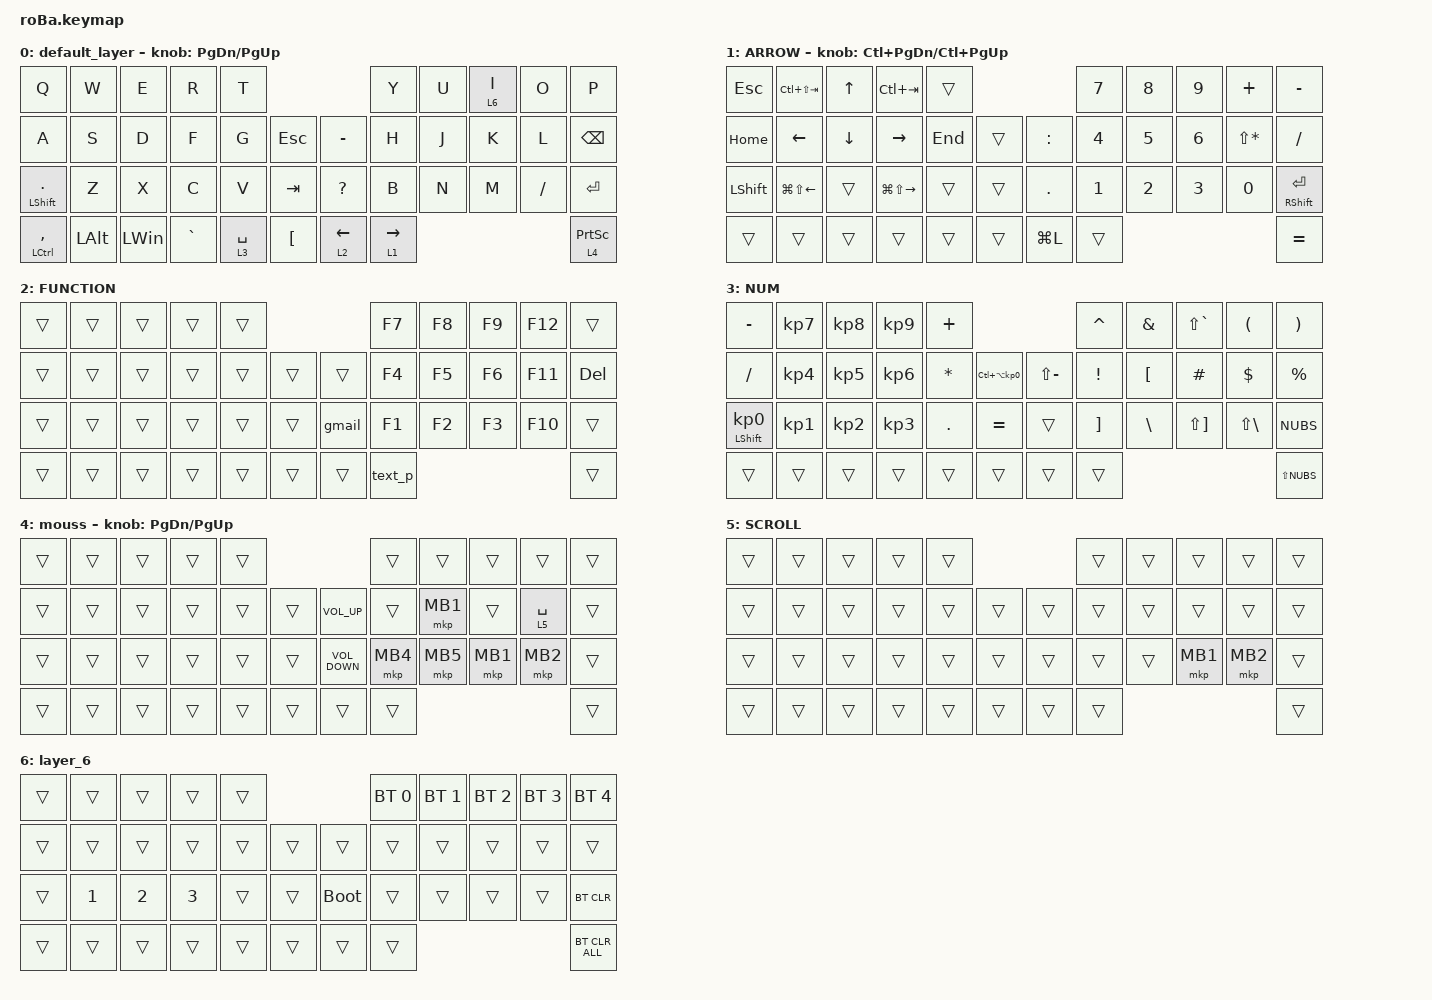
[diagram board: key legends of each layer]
#include <behaviors.dtsi>
#include <dt-bindings/zmk/bt.h>
#include <dt-bindings/zmk/keys.h>
#include <dt-bindings/zmk/pointing.h>

#define MOUSE 4
#define SCROLL 5
#define NUM 6

&mt {
    flavor = "balanced";
    quick-tap-ms = <0>;
};

/ {
    combos {
        compatible = "zmk,combos";

        tab {
            bindings = <&kp TAB>;
            key-positions = <11 12>;
        };

        shift_tab {
            bindings = <&kp LS(TAB)>;
            key-positions = <12 13>;
        };

        double_quotation {
            bindings = <&kp AT>;
            key-positions = <20 21>;
        };

        eq {
            bindings = <&kp EQUAL>;
            key-positions = <24 25>;
        };
    };

    macros {
        text_p: to_layer_0 {
            compatible = "zmk,behavior-macro";
            #binding-cells = <0>;
            bindings = <&kp N &kp Q &kp LS(A) &kp LS(J) &kp U &kp N6 &kp N8 &kp Q>;
            label = "TO_LAYER_0";
        };

        gmail: gmail {
            compatible = "zmk,behavior-macro";
            #binding-cells = <0>;
            bindings = <&none &kp LEFT_BRACKET &kp G &kp M &kp A &kp I &kp L &kp DOT &kp C &kp O &kp M>;
            label = "GMAIL";
        };
    };

    behaviors {
        lt_to_layer_0: lt_to_layer_0 {
            compatible = "zmk,behavior-hold-tap";
            label = "LAYER_TAP_TO_0";
            bindings = <&mo>, <&text_p>;

            #binding-cells = <2>;
            tapping-term-ms = <250>;
        };
    };

    keymap {
        compatible = "zmk,keymap";

        default_layer {
            bindings = <
&kp Q                  &kp W         &kp E         &kp R      &kp T                                          &kp Y        &kp U  &lt 6 I  &kp O      &kp P
&kp A                  &kp S         &kp D         &kp F      &kp G        &kp ESCAPE            &kp MINUS   &kp H        &kp J  &kp K    &kp L      &kp BACKSPACE
&mt LEFT_SHIFT PERIOD  &kp Z         &kp X         &kp C      &kp V        &kp TAB               &kp QMARK   &kp B        &kp N  &kp M    &kp SLASH  &kp ENTER
&mt LCTRL COMMA        &kp LEFT_ALT  &kp LEFT_WIN  &kp GRAVE  &lt 3 SPACE  &kp LEFT_BRACKET      &lt 2 LEFT  &lt 1 RIGHT                             &lt 4 PRINTSCREEN
            >;

            sensor-bindings = <&inc_dec_kp PAGE_DOWN PAGE_UP>;
        };

        ARROW {
            bindings = <
&kp ESCAPE      &kp LC(LS(TAB))         &kp UP_ARROW    &kp LC(TAB)              &trans                           &kp N7        &kp N8        &kp N9        &kp PLUS       &kp MINUS
&kp HOME        &kp LEFT_ARROW          &kp DOWN_ARROW  &kp RIGHT_ARROW          &kp END  &trans      &kp COLON   &kp NUMBER_4  &kp N5        &kp NUMBER_6  &kp LS(ASTRK)  &kp SLASH
&kp LEFT_SHIFT  &kp LG(LS(LEFT_ARROW))  &trans          &kp LG(LS(RIGHT_ARROW))  &trans   &trans      &kp PERIOD  &kp NUMBER_1  &kp NUMBER_2  &kp NUMBER_3  &kp N0         &mt RIGHT_SHIFT ENTER
&trans          &trans                  &trans          &trans                   &trans   &trans      &kp LG(L)   &trans                                                   &kp EQUAL
            >;

            sensor-bindings = <&inc_dec_kp LC(PAGE_DOWN) LC(PAGE_UP)>;
        };

        FUNCTION {
            bindings = <
&trans  &trans  &trans  &trans  &trans                      &kp F7   &kp F8  &kp F9  &kp F12  &trans
&trans  &trans  &trans  &trans  &trans  &trans      &trans  &kp F4   &kp F5  &kp F6  &kp F11  &kp DELETE
&trans  &trans  &trans  &trans  &trans  &trans      &gmail  &kp F1   &kp F2  &kp F3  &kp F10  &trans
&trans  &trans  &trans  &trans  &trans  &trans      &trans  &text_p                           &trans
            >;
        };

        NUM {
            bindings = <
&kp MINUS                   &kp KP_NUMBER_7  &kp KP_NUMBER_8  &kp KP_NUMBER_9  &kp PLUS                                                  &kp CARET          &kp AMPERSAND     &kp LS(GRAVE)          &kp LEFT_PARENTHESIS  &kp RIGHT_PARENTHESIS
&kp SLASH                   &kp KP_NUMBER_4  &kp KP_NUMBER_5  &kp KP_NUMBER_6  &kp ASTERISK  &kp LC(LA(KP_NUMBER_0))      &kp LS(MINUS)  &kp EXCLAMATION    &kp LEFT_BRACKET  &kp HASH               &kp DOLLAR            &kp PERCENT
&mt LEFT_SHIFT KP_NUMBER_0  &kp KP_NUMBER_1  &kp KP_NUMBER_2  &kp KP_NUMBER_3  &kp PERIOD    &kp EQUAL                    &trans         &kp RIGHT_BRACKET  &kp BACKSLASH     &kp LS(RIGHT_BRACKET)  &kp LS(BACKSLASH)     &kp NUBS
&trans                      &trans           &trans           &trans           &trans        &trans                       &trans         &trans                                                                            &kp LS(NUBS)
            >;
        };

        mouss {
            bindings = <
&trans  &trans  &trans  &trans  &trans                                 &trans    &trans    &trans    &trans       &trans
&trans  &trans  &trans  &trans  &trans  &trans      &kp C_VOLUME_UP    &trans    &mkp MB1  &trans    &lt 5 SPACE  &trans
&trans  &trans  &trans  &trans  &trans  &trans      &kp C_VOLUME_DOWN  &mkp MB4  &mkp MB5  &mkp MB1  &mkp MB2     &trans
&trans  &trans  &trans  &trans  &trans  &trans      &trans             &trans                                     &trans
            >;

            sensor-bindings = <&inc_dec_kp PAGE_DOWN PAGE_UP>;
        };

        SCROLL {
            bindings = <
&trans  &trans  &trans  &trans  &trans                      &trans  &trans  &trans    &trans    &trans
&trans  &trans  &trans  &trans  &trans  &trans      &trans  &trans  &trans  &trans    &trans    &trans
&trans  &trans  &trans  &trans  &trans  &trans      &trans  &trans  &trans  &mkp MB1  &mkp MB2  &trans
&trans  &trans  &trans  &trans  &trans  &trans      &trans  &trans                              &trans
            >;
        };

        layer_6 {
            bindings = <
&trans  &trans        &trans        &trans        &trans                           &bt BT_SEL 0  &bt BT_SEL 1  &bt BT_SEL 2  &bt BT_SEL 3  &bt BT_SEL 4
&trans  &trans        &trans        &trans        &trans  &trans      &trans       &trans        &trans        &trans        &trans        &trans
&trans  &kp NUMBER_1  &kp NUMBER_2  &kp NUMBER_3  &trans  &trans      &bootloader  &trans        &trans        &trans        &trans        &bt BT_CLR
&trans  &trans        &trans        &trans        &trans  &trans      &trans       &trans                                                  &bt BT_CLR_ALL
            >;
        };
    };
};
